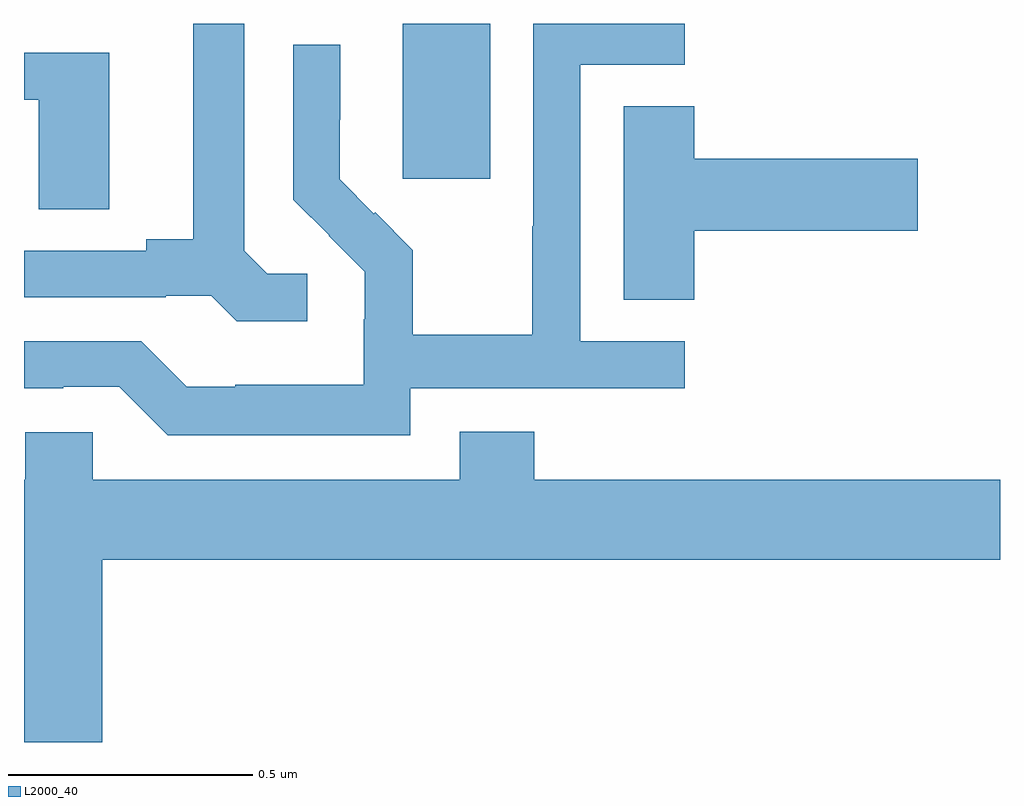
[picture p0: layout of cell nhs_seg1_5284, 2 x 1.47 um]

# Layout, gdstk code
import gdstk
lib = gdstk.Library(unit=1e-6, precision=1e-09)
def R(c, l, rs):  # rectangles x0, y0, x1, y1
    for r in rs: c.add(gdstk.rectangle(r[:2], r[2:], *l))
def P(c, l, *ps):  # polygons
    for p in ps: c.add(gdstk.Polygon(p, *l))
L2000_40 = (2000, 40)

nhs_seg1_5284 = lib.new_cell('nhs_seg1_5284')
R(nhs_seg1_5284, L2000_40, [(177.776,517.881,177.955,518.199)])
P(nhs_seg1_5284, L2000_40, [(177.792,517.452),(178.354,517.452),(178.354,517.548),(178.14,517.548),(178.14,518.115),(178.354,518.115),(178.354,518.199),(178.044,518.199),(178.044,517.784),(178.042,517.784),(178.042,517.561),(177.797,517.561),(177.797,517.735),(177.72,517.812),(177.717,517.809),(177.647,517.88),(177.647,518.002),(177.648,518.002),(177.648,518.156),(177.552,518.156),(177.552,517.838),(177.625,517.765),(177.624,517.764),(177.698,517.69),(177.698,517.593),(177.696,517.593),(177.696,517.459),(177.433,517.459),(177.433,517.455),(177.333,517.455),(177.24,517.548),(177,517.548),(177,517.452),(177.08,517.452),(177.08,517.455),(177.195,517.455),(177.295,517.355),(177.792,517.355)],
  [(177.58,517.686),(177.498,517.686),(177.451,517.733),(177.451,518.199),(177.347,518.199),(177.347,517.757),(177.251,517.757),(177.251,517.734),(177,517.734),(177,517.638),(177.29,517.638),(177.29,517.641),(177.384,517.641),(177.436,517.589),(177.58,517.589)],
  [(177.175,518.139),(177,518.139),(177,518.043),(177.03,518.043),(177.03,517.819),(177.175,517.819)],
  [(178.373,517.775),(178.831,517.775),(178.831,517.922),(178.373,517.922),(178.373,518.03),(178.229,518.03),(178.229,517.633),(178.373,517.633)],
  [(177.16,517.1),(179,517.1),(179,517.264),(178.046,517.264),(178.046,517.363),(177.893,517.363),(177.893,517.264),(177.141,517.264),(177.141,517.362),(177.003,517.362),(177.003,517.264),(177,517.264),(177,516.726),(177.16,516.726)])

lib.write_gds('nhs_seg1_5284.gds')
